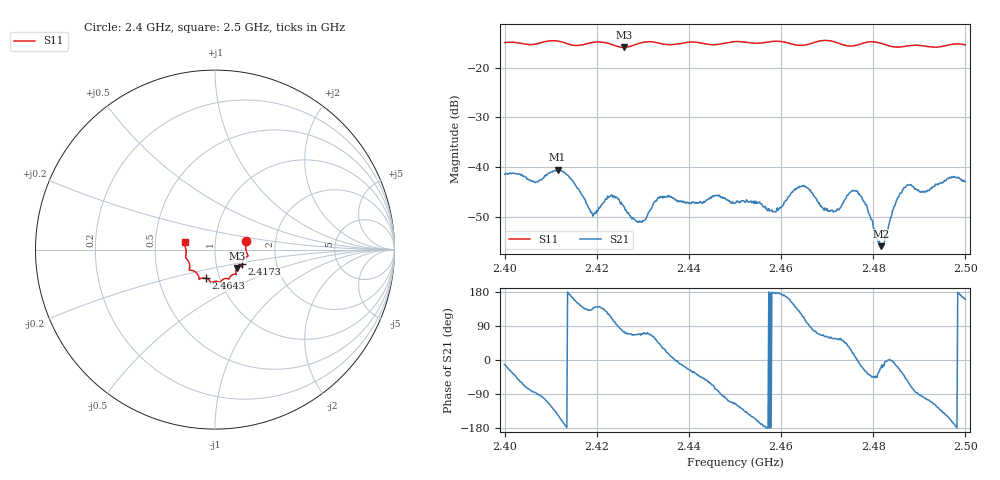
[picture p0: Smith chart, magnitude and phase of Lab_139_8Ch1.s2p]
# Hz S RI R 50
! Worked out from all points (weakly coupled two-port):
!   601 points, 2.4 GHz to 2.5 GHz, reference 50 ohm
!   highest |S21| = -40.56 dB at 2.4115 GHz (marker M1); lowest = -56.0 dB at 2.4817 GHz (marker M2)
!   lowest |S11| = -15.9 dB at 2.4258 GHz (marker M3), VSWR 1.38, Z = 62.3 - j13.3 ohm
!   |S11| at or under -10 dB: start of sweep to end of sweep
!   S12 and S22 are empty: the file has one direction only
!   S11 on the Smith chart (normalised r, x): 2.4 GHz: 1.41, +0.14; 2.4173 GHz: 1.34, -0.22; 2.4643 GHz: 0.86, -0.28; 2.5 GHz: 0.72, +0.06
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2.4e9  0.1725 0.0491  0.00825 -0.00176  0 0  0 0
2.406667e9  0.1728 -0.00612  0.00042 -0.00692  0 0  0 0
2.4115e9  0.1819 -0.0373  -0.00759 -0.00549  0 0  0 0
2.416667e9  0.1522 -0.0742  -0.00419 0.00328  0 0  0 0
2.417333e9  0.1514 -0.0816  -0.00336 0.0034  0 0  0 0
2.419333e9  0.153 -0.0956  -0.0025 0.00218  0 0  0 0
2.422833e9  0.1472 -0.0937  -0.00228 0.00451  0 0  0 0
2.425833e9  0.1221 -0.1036  0.00113 0.00387  0 0  0 0
2.429667e9  0.1168 -0.1353  0.000998 0.00264  0 0  0 0
2.433333e9  0.1127 -0.1376  0.00343 0.00354  0 0  0 0
2.45e9  0.029 -0.1812  -0.00185 -0.00389  0 0  0 0
2.4585e9  -0.0211 -0.1835  -0.00356 0.000181  0 0  0 0
2.464333e9  -0.0496 -0.1603  -0.00338 0.00536  0 0  0 0
2.466667e9  -0.0756 -0.1594  0.000744 0.0055  0 0  0 0
2.4715e9  -0.0879 -0.1605  0.00197 0.00297  0 0  0 0
2.4765e9  -0.1218 -0.1174  0.00576 3.63e-05  0 0  0 0
2.481667e9  -0.1418 -0.1048  0.00149 -0.000562  0 0  0 0
2.483333e9  -0.1407 -0.0897  0.00255 -3.41e-06  0 0  0 0
2.485333e9  -0.146 -0.0684  0.00464 -0.00156  0 0  0 0
2.487167e9  -0.1561 -0.0547  0.00401 -0.00501  0 0  0 0
2.491e9  -0.1621 -0.0345  -0.000836 -0.00548  0 0  0 0
2.5e9  -0.1644 0.043  -0.00666 0.00239  0 0  0 0
